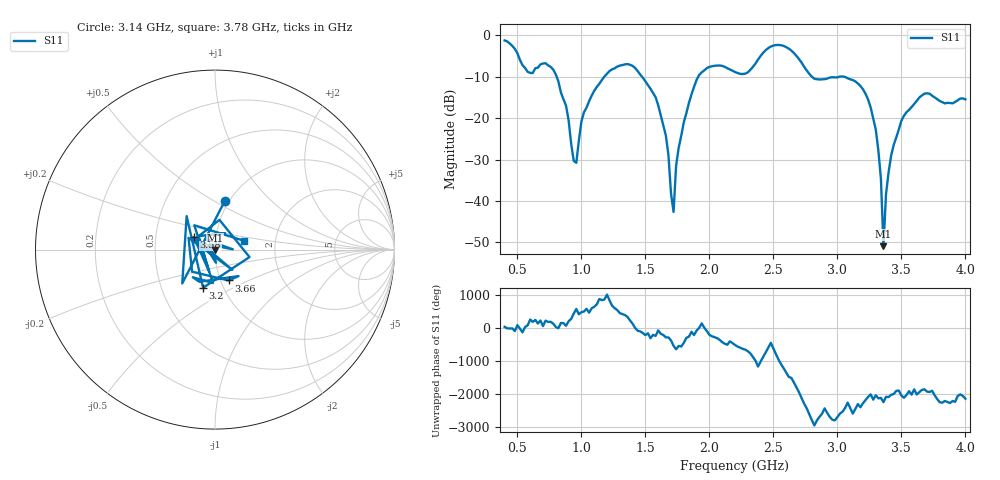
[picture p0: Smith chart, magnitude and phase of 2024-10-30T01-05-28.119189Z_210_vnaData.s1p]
!Created with skrf (http://scikit-rf.org).
# Hz S RI R 50.0
!freq ReS11 ImS11
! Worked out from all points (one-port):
!   181 points, 400 MHz to 4 GHz, reference 50 ohm
!   lowest |S11| = -50.9 dB at 3.36 GHz (marker M1), VSWR 1.01, Z = 50.1 - j0.277 ohm
!   |S11| at or under -10 dB: 806.6 MHz to 1.179 GHz (371.9 MHz wide, 37.5 % of centre); 1.474 GHz to 1.913 GHz (438.9 MHz wide, 25.9 % of centre); 3.052 GHz to end of sweep (the widest 3 of 4)
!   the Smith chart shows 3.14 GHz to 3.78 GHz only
!   S11 on the Smith chart (normalised r, x): 3.14 GHz: 0.95, +0.56; 3.2 GHz: 0.80, -0.36; 3.58 GHz: 0.78, +0.11; 3.66 GHz: 1.09, -0.39; 3.78 GHz: 1.38, +0.14
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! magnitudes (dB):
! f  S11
! 400 MHz  -1.2
! 580 MHz  -8.8
! 760 MHz  -7.6
! 860 MHz  -15.5
! 960 MHz  -30.8
! 1.02 GHz  -18.6
! 1.3 GHz  -7.3
! 1.58 GHz  -15.0
! 1.66 GHz  -24.2
! 1.72 GHz  -42.7
! 1.76 GHz  -27.2
! 1.92 GHz  -9.6
! 2.2 GHz  -8.9
! 2.66 GHz  -4.3
! 2.82 GHz  -10.5
! 3.1 GHz  -10.6
! 3.14 GHz  -11.1
! 3.2 GHz  -13.0
! 3.3 GHz  -22.8
! 3.34 GHz  -34.6
! 3.36 GHz  -50.9
! 3.38 GHz  -38.3
! 3.42 GHz  -29.0
! 3.56 GHz  -18.0
! 3.58 GHz  -17.3
! 3.66 GHz  -14.5
! 3.78 GHz  -15.4
! 4 GHz  -15.5
